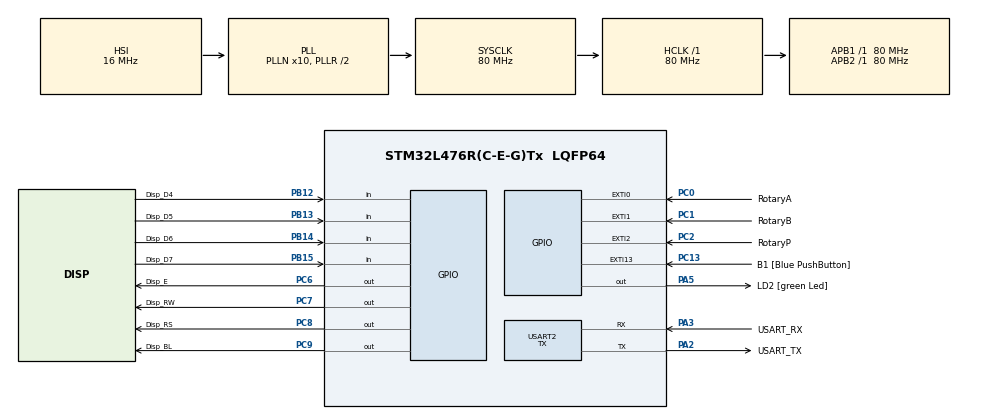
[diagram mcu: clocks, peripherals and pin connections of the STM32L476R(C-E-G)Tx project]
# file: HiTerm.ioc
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Mcu.Family=STM32L4
Mcu.Name=STM32L476R(C-E-G)Tx
Mcu.Package=LQFP64
NVIC.EXTI0_IRQn=true\:0\:0\:false\:false\:true\:true
NVIC.EXTI1_IRQn=true\:0\:0\:false\:false\:true\:true
NVIC.EXTI2_IRQn=true\:0\:0\:false\:false\:true\:true
NVIC.PriorityGroup=NVIC_PRIORITYGROUP_4
PA13\ (JTMS-SWDIO).GPIO_Label=TMS
PA13\ (JTMS-SWDIO).Mode=Trace_Asynchronous_SW
PA13\ (JTMS-SWDIO).Signal=SYS_JTMS-SWDIO
PA14\ (JTCK-SWCLK).GPIO_Label=TCK
PA14\ (JTCK-SWCLK).Mode=Trace_Asynchronous_SW
PA14\ (JTCK-SWCLK).Signal=SYS_JTCK-SWCLK
PA2.GPIO_Label=USART_TX
PA2.GPIO_Mode=GPIO_MODE_AF_PP
PA2.GPIO_PuPd=GPIO_NOPULL
PA2.GPIO_Speed=GPIO_SPEED_FREQ_VERY_HIGH
PA2.Mode=Asynchronous
PA2.Signal=USART2_TX
PA3.GPIO_Label=USART_RX
PA3.GPIO_Mode=GPIO_MODE_AF_PP
PA3.GPIO_PuPd=GPIO_NOPULL
PA3.GPIO_Speed=GPIO_SPEED_FREQ_VERY_HIGH
PA3.Mode=Asynchronous
PA3.Signal=USART2_RX
PA5.GPIO_Label=LD2 [green Led]
PA5.GPIO_ModeDefaultOutputPP=GPIO_MODE_OUTPUT_PP
PA5.GPIO_PuPd=GPIO_NOPULL
PA5.GPIO_Speed=GPIO_SPEED_FREQ_LOW
PA5.Signal=GPIO_Output
PB12.GPIO_Label=Disp_D4
PB12.Signal=GPIO_Input
PB13.GPIO_Label=Disp_D5
PB13.Signal=GPIO_Input
PB14.GPIO_Label=Disp_D6
PB14.Signal=GPIO_Input
PB15.GPIO_Label=Disp_D7
PB15.Signal=GPIO_Input
PB3\ (JTDO-TRACESWO).GPIO_Label=SWO
PB3\ (JTDO-TRACESWO).Mode=Trace_Asynchronous_SW
PB3\ (JTDO-TRACESWO).Signal=SYS_JTDO-SWO
PC0.GPIO_Label=RotaryA
PC0.GPIO_ModeDefaultEXTI=GPIO_MODE_IT_RISING_FALLING
PC0.GPIO_PuPd=GPIO_PULLUP
PC0.Signal=GPXTI0
PC1.GPIO_Label=RotaryB
PC1.GPIO_ModeDefaultEXTI=GPIO_MODE_IT_RISING_FALLING
PC1.GPIO_PuPd=GPIO_PULLUP
PC1.Signal=GPXTI1
PC13.GPIO_Label=B1 [Blue PushButton]
PC13.GPIO_ModeDefaultEXTI=GPIO_MODE_IT_FALLING
PC13.GPIO_PuPd=GPIO_NOPULL
PC13.Signal=GPXTI13
PC14-OSC32_IN\ (PC14).Mode=LSE-External-Oscillator
PC14-OSC32_IN\ (PC14).Signal=RCC_OSC32_IN
PC15-OSC32_OUT\ (PC15).Mode=LSE-External-Oscillator
PC15-OSC32_OUT\ (PC15).Signal=RCC_OSC32_OUT
PC2.GPIO_Label=RotaryP
PC2.GPIO_ModeDefaultEXTI=GPIO_MODE_IT_RISING_FALLING
PC2.GPIO_PuPd=GPIO_PULLUP
PC2.Signal=GPXTI2
PC6.GPIO_Label=Disp_E
PC6.GPIO_PuPd=GPIO_NOPULL
PC6.GPIO_Speed=GPIO_SPEED_FREQ_MEDIUM
PC6.Signal=GPIO_Output
PC7.GPIO_Label=Disp_RW
PC7.GPIO_PuPd=GPIO_NOPULL
PC7.GPIO_Speed=GPIO_SPEED_FREQ_MEDIUM
PC7.Signal=GPIO_Output
PC8.GPIO_Label=Disp_RS
PC8.GPIO_PuPd=GPIO_NOPULL
PC8.GPIO_Speed=GPIO_SPEED_FREQ_MEDIUM
PC8.Signal=GPIO_Output
PC9.GPIO_Label=Disp_BL
PC9.Signal=GPIO_Output
PH0-OSC_IN\ (PH0).Signal=RCC_OSC_IN
PH1-OSC_OUT\ (PH1).Signal=RCC_OSC_OUT
ProjectManager.HeapSize=0x2000
ProjectManager.StackSize=0x2000
ProjectManager.TargetToolchain=TrueSTUDIO
RCC.ADCFreq_Value=96000000
RCC.AHBFreq_Value=80000000
RCC.APB1Freq_Value=80000000
RCC.APB1TimFreq_Value=80000000
RCC.APB2Freq_Value=80000000
RCC.APB2TimFreq_Value=80000000
RCC.CK48CLockSelection=RCC_USBCLKSOURCE_MSI
RCC.CortexFreq_Value=80000000
RCC.HCLKFreq_Value=80000000
RCC.HSE_VALUE=8000000
RCC.HSI_VALUE=16000000
RCC.MSIClockRange=RCC_MSIRANGE_11
RCC.MSI_VALUE=48000000
RCC.PLLN=10
RCC.PLLSAI1N=12
RCC.PLLSAI1Q=RCC_PLLQ_DIV4
RCC.PLLSourceVirtual=RCC_PLLSOURCE_HSI
RCC.PREFETCH_ENABLE=1
RCC.RTCClockSelection=RCC_RTCCLKSOURCE_LSE
RCC.SYSCLKFreq_VALUE=80000000
RCC.SYSCLKSource=RCC_SYSCLKSOURCE_PLLCLK
RCC.USBFreq_Value=48000000
RCC.VCOOutputFreq_Value=160000000
USART2.Mode=MODE_TX
USART2.VirtualMode-Asynchronous=VM_ASYNC
USART2.WordLength=WORDLENGTH_8B
VP_RTC_VS_RTC_Activate.Mode=RTC_Enabled
VP_RTC_VS_RTC_Calendar.Mode=RTC_Calendar
board=HiTerm

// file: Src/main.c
/**
  ******************************************************************************
  * @file           : main.c
  * @brief          : Main program body
  ******************************************************************************
  ** This notice applies to any and all portions of this file
  * that are not between comment pairs USER CODE BEGIN and
  * USER CODE END. Other portions of this file, whether
  * inserted by the user or by software development tools
  * are owned by their respective copyright owners.
  *
  * COPYRIGHT(c) 2018 STMicroelectronics
  *
  * Redistribution and use in source and binary forms, with or without modification,
  * are permitted provided that the following conditions are met:
  *   1. Redistributions of source code must retain the above copyright notice,
  *      this list of conditions and the following disclaimer.
  *   2. Redistributions in binary form must reproduce the above copyright notice,
  *      this list of conditions and the following disclaimer in the documentation
  *      and/or other materials provided with the distribution.
  *   3. Neither the name of STMicroelectronics nor the names of its contributors
  *      may be used to endorse or promote products derived from this software
  *      without specific prior written permission.
  *
  * THIS SOFTWARE IS PROVIDED BY THE COPYRIGHT HOLDERS AND CONTRIBUTORS "AS IS"
  * AND ANY EXPRESS OR IMPLIED WARRANTIES, INCLUDING, BUT NOT LIMITED TO, THE
  * IMPLIED WARRANTIES OF MERCHANTABILITY AND FITNESS FOR A PARTICULAR PURPOSE ARE
  * DISCLAIMED. IN NO EVENT SHALL THE COPYRIGHT HOLDER OR CONTRIBUTORS BE LIABLE
  * FOR ANY DIRECT, INDIRECT, INCIDENTAL, SPECIAL, EXEMPLARY, OR CONSEQUENTIAL
  * DAMAGES (INCLUDING, BUT NOT LIMITED TO, PROCUREMENT OF SUBSTITUTE GOODS OR
  * SERVICES; LOSS OF USE, DATA, OR PROFITS; OR BUSINESS INTERRUPTION) HOWEVER
  * CAUSED AND ON ANY THEORY OF LIABILITY, WHETHER IN CONTRACT, STRICT LIABILITY,
  * OR TORT (INCLUDING NEGLIGENCE OR OTHERWISE) ARISING IN ANY WAY OUT OF THE USE
  * OF THIS SOFTWARE, EVEN IF ADVISED OF THE POSSIBILITY OF SUCH DAMAGE.
  *
  ******************************************************************************
  */
#include "main.h"
#include "stm32l4xx_hal.h"

/* USER CODE BEGIN Includes */
#include <stdbool.h>
#include "Rotary.h"
#include "Hitachi44780U.h"

/* USER CODE END Includes */

RTC_HandleTypeDef hrtc;

UART_HandleTypeDef huart2;

/* USER CODE BEGIN PV */
/* Private variables ---------------------------------------------------------*/

/* USER CODE END PV */

void SystemClock_Config(void);
static void MX_GPIO_Init(void);
static void MX_USART2_UART_Init(void);
static void MX_RTC_Init(void);

/* USER CODE BEGIN PFP */
/* Private function prototypes -----------------------------------------------*/

/* USER CODE END PFP */

/* USER CODE BEGIN 0 */
void HAL_GPIO_EXTI_Callback(uint16_t GPIO_Pin)
{
  Rotary_EXTI_Callback(GPIO_Pin);
}

void RotaryP_Callback(int but)
{
  static bool state = true;
  static uint32_t lastTick = 0;
  if((but == 1) && (lastTick < HAL_GetTick()))
  {
      state = !state;
      lastTick = HAL_GetTick();
      HD44780U_BackLight(state);
  }
}

/* USER CODE END 0 */

int main(void)
{

  /* MCU Configuration----------------------------------------------------------*/

  /* Reset of all peripherals, Initializes the Flash interface and the Systick. */
  HAL_Init();

  /* Configure the system clock */
  SystemClock_Config();

  /* Initialize all configured peripherals */
  MX_GPIO_Init();
  MX_USART2_UART_Init();
  MX_RTC_Init();
  /* USER CODE BEGIN 2 */
  HD44780U_BackLight(false);
  HD44780U_BackLight(true);
  HD44780U_Init(HD44780U_FUNCTIONSET_2LINES, HD44780U_FUNCTIONSET_5X8DOT);
  HD44780U_Home();
  for(uint32_t n = 0; n < 10; n++)
  {
      if(n > 0) HD44780U_WriteString("\r\n");
      for(uint32_t m = 0; m < n + 1; m++) HD44780U_WriteChar('-');
      HD44780U_WriteString(">HiTerm!");
      HAL_Delay(1000);
  }

  /* USER CODE END 2 */

  /* Infinite loop */
  while (1)
  {

  }

}

void SystemClock_Config(void)
{

  RCC_OscInitTypeDef RCC_OscInitStruct;
  RCC_ClkInitTypeDef RCC_ClkInitStruct;
  RCC_PeriphCLKInitTypeDef PeriphClkInit;

    /**Configure LSE Drive Capability
    */
  HAL_PWR_EnableBkUpAccess();

  __HAL_RCC_LSEDRIVE_CONFIG(RCC_LSEDRIVE_LOW);

    /**Initializes the CPU, AHB and APB busses clocks
    */
  RCC_OscInitStruct.OscillatorType = RCC_OSCILLATORTYPE_HSI|RCC_OSCILLATORTYPE_LSE;
  RCC_OscInitStruct.LSEState = RCC_LSE_ON;
  RCC_OscInitStruct.HSIState = RCC_HSI_ON;
  RCC_OscInitStruct.HSICalibrationValue = 16;
  RCC_OscInitStruct.PLL.PLLState = RCC_PLL_ON;
  RCC_OscInitStruct.PLL.PLLSource = RCC_PLLSOURCE_HSI;
  RCC_OscInitStruct.PLL.PLLN = 10;
  RCC_OscInitStruct.PLL.PLLP = RCC_PLLP_DIV7;
  RCC_OscInitStruct.PLL.PLLQ = RCC_PLLQ_DIV2;
  RCC_OscInitStruct.PLL.PLLR = RCC_PLLR_DIV2;
  if (HAL_RCC_OscConfig(&RCC_OscInitStruct) != HAL_OK)
  {
    _Error_Handler(__FILE__, __LINE__);
  }

    /**Initializes the CPU, AHB and APB busses clocks
    */
  RCC_ClkInitStruct.ClockType = RCC_CLOCKTYPE_HCLK|RCC_CLOCKTYPE_SYSCLK
                              |RCC_CLOCKTYPE_PCLK1|RCC_CLOCKTYPE_PCLK2;
  RCC_ClkInitStruct.SYSCLKSource = RCC_SYSCLKSOURCE_PLLCLK;
  RCC_ClkInitStruct.AHBCLKDivider = RCC_SYSCLK_DIV1;
  RCC_ClkInitStruct.APB1CLKDivider = RCC_HCLK_DIV1;
  RCC_ClkInitStruct.APB2CLKDivider = RCC_HCLK_DIV1;

  if (HAL_RCC_ClockConfig(&RCC_ClkInitStruct, FLASH_LATENCY_4) != HAL_OK)
  {
    _Error_Handler(__FILE__, __LINE__);
  }

  PeriphClkInit.PeriphClockSelection = RCC_PERIPHCLK_RTC|RCC_PERIPHCLK_USART2;
  PeriphClkInit.Usart2ClockSelection = RCC_USART2CLKSOURCE_PCLK1;
  PeriphClkInit.RTCClockSelection = RCC_RTCCLKSOURCE_LSE;
  if (HAL_RCCEx_PeriphCLKConfig(&PeriphClkInit) != HAL_OK)
  {
    _Error_Handler(__FILE__, __LINE__);
  }

    /**Configure the main internal regulator output voltage
    */
  if (HAL_PWREx_ControlVoltageScaling(PWR_REGULATOR_VOLTAGE_SCALE1) != HAL_OK)
  {
    _Error_Handler(__FILE__, __LINE__);
  }

    /**Configure the Systick interrupt time
    */
  HAL_SYSTICK_Config(HAL_RCC_GetHCLKFreq()/1000);

    /**Configure the Systick
    */
  HAL_SYSTICK_CLKSourceConfig(SYSTICK_CLKSOURCE_HCLK);

  /* SysTick_IRQn interrupt configuration */
  HAL_NVIC_SetPriority(SysTick_IRQn, 0, 0);
}

/* RTC init function */
static void MX_RTC_Init(void)
{

  RTC_TimeTypeDef sTime;
  RTC_DateTypeDef sDate;

    /**Initialize RTC Only
    */
  hrtc.Instance = RTC;
if(HAL_RTCEx_BKUPRead(&hrtc, RTC_BKP_DR0) != 0x32F2){
  hrtc.Init.HourFormat = RTC_HOURFORMAT_24;
  hrtc.Init.AsynchPrediv = 127;
  hrtc.Init.SynchPrediv = 255;
  hrtc.Init.OutPut = RTC_OUTPUT_DISABLE;
  hrtc.Init.OutPutRemap = RTC_OUTPUT_REMAP_NONE;
  hrtc.Init.OutPutPolarity = RTC_OUTPUT_POLARITY_HIGH;
  hrtc.Init.OutPutType = RTC_OUTPUT_TYPE_OPENDRAIN;
  if (HAL_RTC_Init(&hrtc) != HAL_OK)
  {
    _Error_Handler(__FILE__, __LINE__);
  }

    /**Initialize RTC and set the Time and Date
    */
  sTime.Hours = 0x0;
  sTime.Minutes = 0x0;
  sTime.Seconds = 0x0;
  sTime.DayLightSaving = RTC_DAYLIGHTSAVING_NONE;
  sTime.StoreOperation = RTC_STOREOPERATION_RESET;
  if (HAL_RTC_SetTime(&hrtc, &sTime, RTC_FORMAT_BCD) != HAL_OK)
  {
    _Error_Handler(__FILE__, __LINE__);
  }

  sDate.WeekDay = RTC_WEEKDAY_MONDAY;
  sDate.Month = RTC_MONTH_JANUARY;
  sDate.Date = 0x1;
  sDate.Year = 0x0;

  if (HAL_RTC_SetDate(&hrtc, &sDate, RTC_FORMAT_BCD) != HAL_OK)
  {
    _Error_Handler(__FILE__, __LINE__);
  }

    HAL_RTCEx_BKUPWrite(&hrtc,RTC_BKP_DR0,0x32F2);
  }

}

/* USART2 init function */
static void MX_USART2_UART_Init(void)
{

  huart2.Instance = USART2;
  huart2.Init.BaudRate = 115200;
  huart2.Init.WordLength = UART_WORDLENGTH_8B;
  huart2.Init.StopBits = UART_STOPBITS_1;
  huart2.Init.Parity = UART_PARITY_NONE;
  huart2.Init.Mode = UART_MODE_TX;
  huart2.Init.HwFlowCtl = UART_HWCONTROL_NONE;
  huart2.Init.OverSampling = UART_OVERSAMPLING_16;
  huart2.Init.OneBitSampling = UART_ONE_BIT_SAMPLE_DISABLE;
  huart2.AdvancedInit.AdvFeatureInit = UART_ADVFEATURE_NO_INIT;
  if (HAL_UART_Init(&huart2) != HAL_OK)
  {
    _Error_Handler(__FILE__, __LINE__);
  }

}

/** Configure pins as
        * Analog
        * Input
        * Output
        * EVENT_OUT
        * EXTI
*/
static void MX_GPIO_Init(void)
{

  GPIO_InitTypeDef GPIO_InitStruct;

  /* GPIO Ports Clock Enable */
  __HAL_RCC_GPIOC_CLK_ENABLE();
  __HAL_RCC_GPIOH_CLK_ENABLE();
  __HAL_RCC_GPIOA_CLK_ENABLE();
  __HAL_RCC_GPIOB_CLK_ENABLE();

  /*Configure GPIO pin Output Level */
  HAL_GPIO_WritePin(LD2_GPIO_Port, LD2_Pin, GPIO_PIN_RESET);

  /*Configure GPIO pin Output Level */
  HAL_GPIO_WritePin(GPIOC, Disp_E_Pin|Disp_RW_Pin|Disp_RS_Pin|Disp_BL_Pin, GPIO_PIN_RESET);

  /*Configure GPIO pin : B1_Pin */
  GPIO_InitStruct.Pin = B1_Pin;
  GPIO_InitStruct.Mode = GPIO_MODE_IT_FALLING;
  GPIO_InitStruct.Pull = GPIO_NOPULL;
  HAL_GPIO_Init(B1_GPIO_Port, &GPIO_InitStruct);

  /*Configure GPIO pins : RotaryA_Pin RotaryB_Pin RotaryP_Pin */
  GPIO_InitStruct.Pin = RotaryA_Pin|RotaryB_Pin|RotaryP_Pin;
  GPIO_InitStruct.Mode = GPIO_MODE_IT_RISING_FALLING;
  GPIO_InitStruct.Pull = GPIO_PULLUP;
  HAL_GPIO_Init(GPIOC, &GPIO_InitStruct);

  /*Configure GPIO pin : LD2_Pin */
  GPIO_InitStruct.Pin = LD2_Pin;
  GPIO_InitStruct.Mode = GPIO_MODE_OUTPUT_PP;
  GPIO_InitStruct.Pull = GPIO_NOPULL;
  GPIO_InitStruct.Speed = GPIO_SPEED_FREQ_LOW;
  HAL_GPIO_Init(LD2_GPIO_Port, &GPIO_InitStruct);

  /*Configure GPIO pins : Disp_D4_Pin Disp_D5_Pin Disp_D6_Pin Disp_D7_Pin */
  GPIO_InitStruct.Pin = Disp_D4_Pin|Disp_D5_Pin|Disp_D6_Pin|Disp_D7_Pin;
  GPIO_InitStruct.Mode = GPIO_MODE_INPUT;
  GPIO_InitStruct.Pull = GPIO_NOPULL;
  HAL_GPIO_Init(GPIOB, &GPIO_InitStruct);

  /*Configure GPIO pins : Disp_E_Pin Disp_RW_Pin Disp_RS_Pin */
  GPIO_InitStruct.Pin = Disp_E_Pin|Disp_RW_Pin|Disp_RS_Pin;
  GPIO_InitStruct.Mode = GPIO_MODE_OUTPUT_PP;
  GPIO_InitStruct.Pull = GPIO_NOPULL;
  GPIO_InitStruct.Speed = GPIO_SPEED_FREQ_MEDIUM;
  HAL_GPIO_Init(GPIOC, &GPIO_InitStruct);

  /*Configure GPIO pin : Disp_BL_Pin */
  GPIO_InitStruct.Pin = Disp_BL_Pin;
  GPIO_InitStruct.Mode = GPIO_MODE_OUTPUT_PP;
  GPIO_InitStruct.Pull = GPIO_NOPULL;
  GPIO_InitStruct.Speed = GPIO_SPEED_FREQ_LOW;
  HAL_GPIO_Init(Disp_BL_GPIO_Port, &GPIO_InitStruct);

  /* EXTI interrupt init*/
  HAL_NVIC_SetPriority(EXTI0_IRQn, 0, 0);
  HAL_NVIC_EnableIRQ(EXTI0_IRQn);

  HAL_NVIC_SetPriority(EXTI1_IRQn, 0, 0);
  HAL_NVIC_EnableIRQ(EXTI1_IRQn);

  HAL_NVIC_SetPriority(EXTI2_IRQn, 0, 0);
  HAL_NVIC_EnableIRQ(EXTI2_IRQn);

}

void _Error_Handler(char *file, int line)
{
  while(1)
  {
  }
}

/************************ (C) COPYRIGHT STMicroelectronics *****END OF FILE****/
